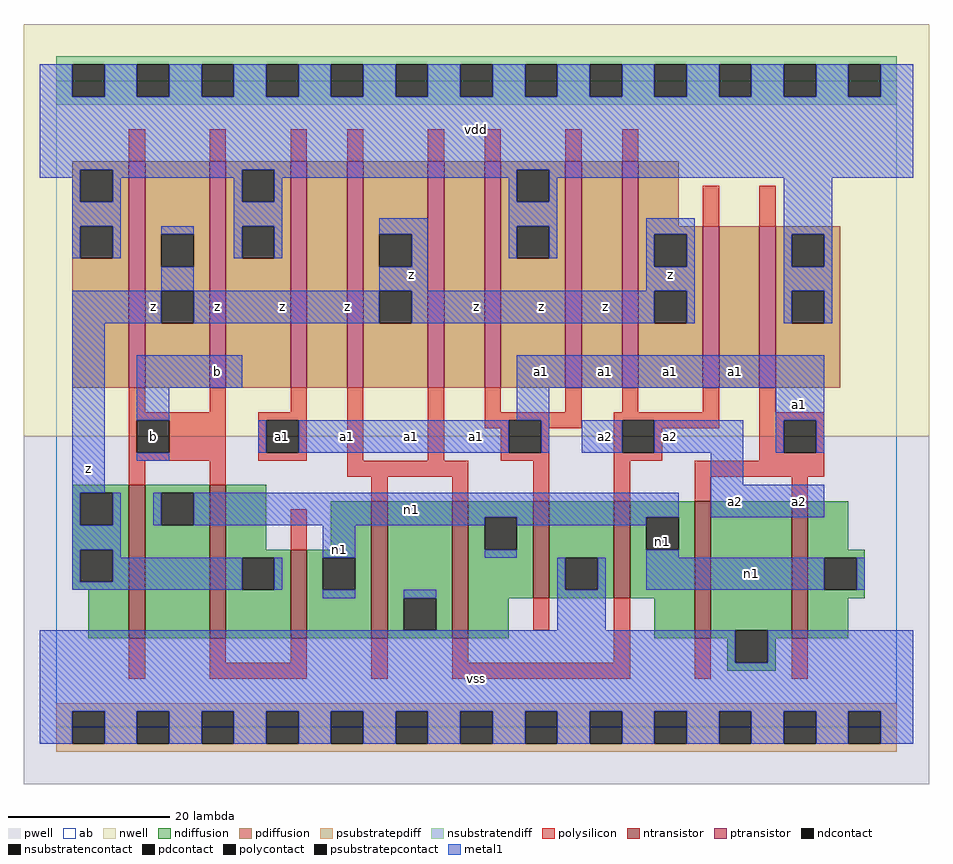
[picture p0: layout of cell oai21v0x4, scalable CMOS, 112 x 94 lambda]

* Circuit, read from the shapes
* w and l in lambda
.subckt oai21v0x4 a1 a2 b n1 vdd vss z
M1 n1 b z vss nfet w=19 l=2 m=2
M2 n1 b z vss nfet w=11 l=2
M3 vss a2 n1 vss nfet w=17 l=2 m=2
M4 vss a1 n1 vss nfet w=12 l=2
M5 n1 a2 vss vss nfet w=12 l=2
M6 vss a1 n1 vss nfet w=17 l=2 m=2
M7 z b vdd vdd pfet w=28 l=2 m=2
M8 n2 a1 vdd vdd pfet w=28 l=2
M9 z a2 n2 vdd pfet w=28 l=2
M10 n3 a2 z vdd pfet w=28 l=2
M11 vdd a1 n3 vdd pfet w=28 l=2
M12 n4 a1 vdd vdd pfet w=28 l=2
M13 z a2 n4 vdd pfet w=28 l=2
M14 n5 a2 z vdd pfet w=20 l=2
M15 vdd a1 n5 vdd pfet w=20 l=2
.ends

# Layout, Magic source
magic
tech scmos
<< ab >>
rect 0 0 104 80
<< pwell >>
rect -4 -7 108 36
<< nwell >>
rect -4 36 108 87
<< polysilicon >>
rect 9 70 11 74
rect 19 70 21 74
rect 29 70 31 74
rect 36 70 38 74
rect 46 70 48 74
rect 53 70 55 74
rect 63 70 65 74
rect 70 70 72 74
rect 80 62 82 67
rect 87 62 89 67
rect 9 39 11 42
rect 19 39 21 42
rect 29 39 31 42
rect 9 38 21 39
rect 9 34 10 38
rect 14 34 21 38
rect 9 33 21 34
rect 25 38 31 39
rect 25 34 26 38
rect 30 34 31 38
rect 25 33 31 34
rect 36 33 38 42
rect 46 33 48 42
rect 53 39 55 42
rect 63 39 65 42
rect 70 39 72 42
rect 80 39 82 42
rect 53 38 65 39
rect 53 37 56 38
rect 55 34 56 37
rect 60 37 65 38
rect 69 38 82 39
rect 60 34 61 37
rect 55 33 61 34
rect 9 30 11 33
rect 19 30 21 33
rect 36 31 51 33
rect 39 28 41 31
rect 49 28 51 31
rect 59 28 61 33
rect 69 34 70 38
rect 74 37 82 38
rect 87 39 89 42
rect 87 38 95 39
rect 74 34 75 37
rect 69 33 75 34
rect 87 34 90 38
rect 94 34 95 38
rect 87 33 95 34
rect 69 28 71 33
rect 79 31 95 33
rect 79 28 81 31
rect 91 28 93 31
rect 29 22 31 27
rect 59 12 61 16
rect 9 6 11 11
rect 19 8 21 11
rect 29 8 31 11
rect 19 6 31 8
rect 39 6 41 11
rect 49 8 51 11
rect 69 8 71 16
rect 49 6 71 8
rect 79 6 81 11
rect 91 6 93 11
<< ndiffusion >>
rect 2 29 9 30
rect 2 25 3 29
rect 7 25 9 29
rect 2 22 9 25
rect 2 18 3 22
rect 7 18 9 22
rect 2 17 9 18
rect 4 11 9 17
rect 11 29 19 30
rect 11 25 13 29
rect 17 25 19 29
rect 11 11 19 25
rect 21 22 26 30
rect 34 22 39 28
rect 21 21 29 22
rect 21 17 23 21
rect 27 17 29 21
rect 21 11 29 17
rect 31 21 39 22
rect 31 17 33 21
rect 37 17 39 21
rect 31 11 39 17
rect 41 16 49 28
rect 41 12 43 16
rect 47 12 49 16
rect 41 11 49 12
rect 51 26 59 28
rect 51 22 53 26
rect 57 22 59 26
rect 51 16 59 22
rect 61 21 69 28
rect 61 17 63 21
rect 67 17 69 21
rect 61 16 69 17
rect 71 26 79 28
rect 71 22 73 26
rect 77 22 79 26
rect 71 16 79 22
rect 51 11 56 16
rect 74 11 79 16
rect 81 12 91 28
rect 81 11 84 12
rect 83 8 84 11
rect 88 11 91 12
rect 93 22 98 28
rect 93 21 100 22
rect 93 17 95 21
rect 99 17 100 21
rect 93 16 100 17
rect 93 11 98 16
rect 88 8 89 11
rect 83 7 89 8
<< pdiffusion >>
rect 2 69 9 70
rect 2 65 3 69
rect 7 65 9 69
rect 2 62 9 65
rect 2 58 3 62
rect 7 58 9 62
rect 2 42 9 58
rect 11 61 19 70
rect 11 57 13 61
rect 17 57 19 61
rect 11 54 19 57
rect 11 50 13 54
rect 17 50 19 54
rect 11 42 19 50
rect 21 69 29 70
rect 21 65 23 69
rect 27 65 29 69
rect 21 62 29 65
rect 21 58 23 62
rect 27 58 29 62
rect 21 42 29 58
rect 31 42 36 70
rect 38 61 46 70
rect 38 57 40 61
rect 44 57 46 61
rect 38 54 46 57
rect 38 50 40 54
rect 44 50 46 54
rect 38 42 46 50
rect 48 42 53 70
rect 55 69 63 70
rect 55 65 57 69
rect 61 65 63 69
rect 55 62 63 65
rect 55 58 57 62
rect 61 58 63 62
rect 55 42 63 58
rect 65 42 70 70
rect 72 62 77 70
rect 72 61 80 62
rect 72 57 74 61
rect 78 57 80 61
rect 72 54 80 57
rect 72 50 74 54
rect 78 50 80 54
rect 72 42 80 50
rect 82 42 87 62
rect 89 61 97 62
rect 89 57 91 61
rect 95 57 97 61
rect 89 54 97 57
rect 89 50 91 54
rect 95 50 97 54
rect 89 42 97 50
<< metal1 >>
rect -2 78 2 82
rect 6 78 10 82
rect 14 78 18 82
rect 22 78 26 82
rect 30 78 34 82
rect 38 78 42 82
rect 46 78 50 82
rect 54 78 58 82
rect 62 78 66 82
rect 70 78 74 82
rect 78 78 82 82
rect 86 78 90 82
rect 94 78 98 82
rect 102 78 106 82
rect -2 69 106 78
rect -2 68 3 69
rect 2 65 3 68
rect 7 68 23 69
rect 7 65 8 68
rect 2 62 8 65
rect 22 65 23 68
rect 27 68 57 69
rect 27 65 28 68
rect 22 62 28 65
rect 56 65 57 68
rect 61 68 106 69
rect 61 65 62 68
rect 2 58 3 62
rect 7 58 8 62
rect 13 61 17 62
rect 22 58 23 62
rect 27 58 28 62
rect 40 61 46 63
rect 13 54 17 57
rect 44 57 46 61
rect 56 62 62 65
rect 56 58 57 62
rect 61 58 62 62
rect 73 61 79 63
rect 40 54 46 57
rect 73 57 74 61
rect 78 57 79 61
rect 73 54 79 57
rect 2 50 13 54
rect 17 50 40 54
rect 44 50 74 54
rect 78 50 79 54
rect 90 61 96 68
rect 90 57 91 61
rect 95 57 96 61
rect 90 54 96 57
rect 90 50 91 54
rect 95 50 96 54
rect 2 29 6 50
rect 10 42 23 46
rect 57 42 95 46
rect 10 38 14 42
rect 57 38 61 42
rect 89 38 95 42
rect 25 34 26 38
rect 30 34 56 38
rect 60 34 61 38
rect 65 34 70 38
rect 74 34 85 38
rect 89 34 90 38
rect 94 34 95 38
rect 10 33 14 34
rect 81 30 85 34
rect 2 25 3 29
rect 7 25 8 29
rect 12 25 13 29
rect 17 26 77 29
rect 81 26 95 30
rect 17 25 53 26
rect 2 22 8 25
rect 2 18 3 22
rect 7 21 8 22
rect 33 21 37 25
rect 57 25 73 26
rect 53 21 57 22
rect 73 21 77 22
rect 7 18 23 21
rect 2 17 23 18
rect 27 17 28 21
rect 62 17 63 21
rect 67 17 68 21
rect 73 17 95 21
rect 99 17 100 21
rect 33 16 37 17
rect 43 16 47 17
rect 62 12 68 17
rect -2 8 84 12
rect 88 8 106 12
rect -2 2 106 8
rect -2 -2 2 2
rect 6 -2 10 2
rect 14 -2 18 2
rect 22 -2 26 2
rect 30 -2 34 2
rect 38 -2 42 2
rect 46 -2 50 2
rect 54 -2 58 2
rect 62 -2 66 2
rect 70 -2 74 2
rect 78 -2 82 2
rect 86 -2 90 2
rect 94 -2 98 2
rect 102 -2 106 2
<< ntransistor >>
rect 9 11 11 30
rect 19 11 21 30
rect 29 11 31 22
rect 39 11 41 28
rect 49 11 51 28
rect 59 16 61 28
rect 69 16 71 28
rect 79 11 81 28
rect 91 11 93 28
<< ptransistor >>
rect 9 42 11 70
rect 19 42 21 70
rect 29 42 31 70
rect 36 42 38 70
rect 46 42 48 70
rect 53 42 55 70
rect 63 42 65 70
rect 70 42 72 70
rect 80 42 82 62
rect 87 42 89 62
<< polycontact >>
rect 10 34 14 38
rect 26 34 30 38
rect 56 34 60 38
rect 70 34 74 38
rect 90 34 94 38
<< ndcontact >>
rect 3 25 7 29
rect 3 18 7 22
rect 13 25 17 29
rect 23 17 27 21
rect 33 17 37 21
rect 43 12 47 16
rect 53 22 57 26
rect 63 17 67 21
rect 73 22 77 26
rect 84 8 88 12
rect 95 17 99 21
<< pdcontact >>
rect 3 65 7 69
rect 3 58 7 62
rect 13 57 17 61
rect 13 50 17 54
rect 23 65 27 69
rect 23 58 27 62
rect 40 57 44 61
rect 40 50 44 54
rect 57 65 61 69
rect 57 58 61 62
rect 74 57 78 61
rect 74 50 78 54
rect 91 57 95 61
rect 91 50 95 54
<< psubstratepcontact >>
rect 2 -2 6 2
rect 10 -2 14 2
rect 18 -2 22 2
rect 26 -2 30 2
rect 34 -2 38 2
rect 42 -2 46 2
rect 50 -2 54 2
rect 58 -2 62 2
rect 66 -2 70 2
rect 74 -2 78 2
rect 82 -2 86 2
rect 90 -2 94 2
rect 98 -2 102 2
<< nsubstratencontact >>
rect 2 78 6 82
rect 10 78 14 82
rect 18 78 22 82
rect 26 78 30 82
rect 34 78 38 82
rect 42 78 46 82
rect 50 78 54 82
rect 58 78 62 82
rect 66 78 70 82
rect 74 78 78 82
rect 82 78 86 82
rect 90 78 94 82
rect 98 78 102 82
<< psubstratepdiff >>
rect 0 2 104 3
rect 0 -2 2 2
rect 6 -2 10 2
rect 14 -2 18 2
rect 22 -2 26 2
rect 30 -2 34 2
rect 38 -2 42 2
rect 46 -2 50 2
rect 54 -2 58 2
rect 62 -2 66 2
rect 70 -2 74 2
rect 78 -2 82 2
rect 86 -2 90 2
rect 94 -2 98 2
rect 102 -2 104 2
rect 0 -3 104 -2
<< nsubstratendiff >>
rect 0 82 104 83
rect 0 78 2 82
rect 6 78 10 82
rect 14 78 18 82
rect 22 78 26 82
rect 30 78 34 82
rect 38 78 42 82
rect 46 78 50 82
rect 54 78 58 82
rect 62 78 66 82
rect 70 78 74 82
rect 78 78 82 82
rect 86 78 90 82
rect 94 78 98 82
rect 102 78 104 82
rect 0 77 104 78
<< labels >>
rlabel metal1 4 32 4 32 6 z
rlabel polycontact 12 36 12 36 6 b
rlabel metal1 12 52 12 52 6 z
rlabel metal1 35 22 35 22 6 n1
rlabel metal1 20 44 20 44 6 b
rlabel polycontact 28 36 28 36 6 a1
rlabel metal1 36 36 36 36 6 a1
rlabel metal1 28 52 28 52 6 z
rlabel metal1 36 52 36 52 6 z
rlabel metal1 20 52 20 52 6 z
rlabel metal1 52 6 52 6 6 vss
rlabel metal1 44 36 44 36 6 a1
rlabel metal1 52 36 52 36 6 a1
rlabel metal1 60 44 60 44 6 a1
rlabel metal1 52 52 52 52 6 z
rlabel metal1 60 52 60 52 6 z
rlabel metal1 44 56 44 56 6 z
rlabel metal1 52 74 52 74 6 vdd
rlabel metal1 44 27 44 27 6 n1
rlabel ndcontact 75 23 75 23 6 n1
rlabel metal1 68 36 68 36 6 a2
rlabel metal1 68 44 68 44 6 a1
rlabel metal1 76 36 76 36 6 a2
rlabel metal1 76 44 76 44 6 a1
rlabel metal1 68 52 68 52 6 z
rlabel metal1 76 56 76 56 6 z
rlabel metal1 84 28 84 28 6 a2
rlabel metal1 86 19 86 19 6 n1
rlabel metal1 92 28 92 28 6 a2
rlabel metal1 84 44 84 44 6 a1
rlabel metal1 92 40 92 40 6 a1
<< end >>
